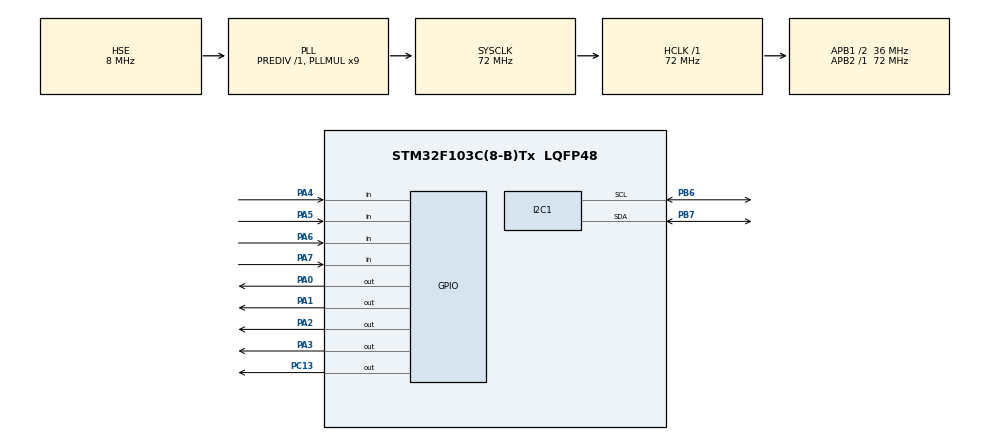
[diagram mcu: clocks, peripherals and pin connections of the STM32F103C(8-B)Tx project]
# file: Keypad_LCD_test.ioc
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Mcu.Family=STM32F1
Mcu.Name=STM32F103C(8-B)Tx
Mcu.Package=LQFP48
NVIC.PriorityGroup=NVIC_PRIORITYGROUP_4
PA0-WKUP.Signal=GPIO_Output
PA1.Signal=GPIO_Output
PA13.Mode=Serial_Wire
PA13.Signal=SYS_JTMS-SWDIO
PA14.Mode=Serial_Wire
PA14.Signal=SYS_JTCK-SWCLK
PA2.Signal=GPIO_Output
PA3.Signal=GPIO_Output
PA4.GPIO_PuPd=GPIO_PULLUP
PA4.Signal=GPIO_Input
PA5.GPIO_PuPd=GPIO_PULLUP
PA5.Signal=GPIO_Input
PA6.GPIO_PuPd=GPIO_PULLUP
PA6.Signal=GPIO_Input
PA7.GPIO_PuPd=GPIO_PULLUP
PA7.Signal=GPIO_Input
PB6.Mode=I2C
PB6.Signal=I2C1_SCL
PB7.Mode=I2C
PB7.Signal=I2C1_SDA
PC13-TAMPER-RTC.Signal=GPIO_Output
PD0-OSC_IN.Mode=HSE-External-Oscillator
PD0-OSC_IN.Signal=RCC_OSC_IN
PD1-OSC_OUT.Mode=HSE-External-Oscillator
PD1-OSC_OUT.Signal=RCC_OSC_OUT
ProjectManager.HeapSize=0x200
ProjectManager.StackSize=0x400
ProjectManager.TargetToolchain=MDK-ARM V5
RCC.AHBFreq_Value=72000000
RCC.APB1CLKDivider=RCC_HCLK_DIV2
RCC.APB1Freq_Value=36000000
RCC.APB1TimFreq_Value=72000000
RCC.APB2Freq_Value=72000000
RCC.APB2TimFreq_Value=72000000
RCC.HCLKFreq_Value=72000000
RCC.PLLMUL=RCC_PLL_MUL9
RCC.PLLSourceVirtual=RCC_PLLSOURCE_HSE
RCC.SYSCLKFreq_VALUE=72000000
RCC.SYSCLKSource=RCC_SYSCLKSOURCE_PLLCLK
RCC.USBFreq_Value=72000000
board=custom

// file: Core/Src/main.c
/* USER CODE BEGIN Header */
/**
  ******************************************************************************
  * @file           : main.c
  * @brief          : Main program body
  ******************************************************************************
  * @attention
  *
  * <h2><center>&copy; Copyright (c) 2021 STMicroelectronics.
  * All rights reserved.</center></h2>
  *
  * This software component is licensed by ST under BSD 3-Clause license,
  * the "License"; You may not use this file except in compliance with the
  * License. You may obtain a copy of the License at:
  *                        opensource.org/licenses/BSD-3-Clause
  *
  ******************************************************************************
  */
/* USER CODE END Header */
#include "main.h"

/* USER CODE BEGIN Includes */
#include "i2c-lcd.h"
/* USER CODE END Includes */

/* USER CODE BEGIN PD */
#define C1_PORT GPIOA
#define C1_PIN GPIO_PIN_7

#define C2_PORT GPIOA
#define C2_PIN GPIO_PIN_6

#define C3_PORT GPIOA
#define C3_PIN GPIO_PIN_5

#define C4_PORT GPIOA
#define C4_PIN GPIO_PIN_4

#define R1_PORT GPIOA
#define R1_PIN GPIO_PIN_3

#define R2_PORT GPIOA
#define R2_PIN GPIO_PIN_2

#define R3_PORT GPIOA
#define R3_PIN GPIO_PIN_1

#define R4_PORT GPIOA
#define R4_PIN GPIO_PIN_0
/* USER CODE END PD */

I2C_HandleTypeDef hi2c1;

void SystemClock_Config(void);
static void MX_GPIO_Init(void);
static void MX_I2C1_Init(void);

/* USER CODE BEGIN 0 */
uint8_t key;
uint8_t STR[4] = {'1', '2', '3', '4'};
uint8_t str[4] = {' ', ' ', ' ', ' '};
uint8_t i = 0;
uint8_t count =0;
char read_keypad (void)
{
		/* Make ROW 1 LOW and all other ROWs HIGH */
	HAL_GPIO_WritePin (R1_PORT, R1_PIN, GPIO_PIN_RESET);  //Pull the R1 low
	HAL_GPIO_WritePin (R2_PORT, R2_PIN, GPIO_PIN_SET);  // Pull the R2 High
	HAL_GPIO_WritePin (R3_PORT, R3_PIN, GPIO_PIN_SET);  // Pull the R3 High
	HAL_GPIO_WritePin (R4_PORT, R4_PIN, GPIO_PIN_SET);  // Pull the R4 High

	if (!(HAL_GPIO_ReadPin (C1_PORT, C1_PIN)))   // if the Col 1 is low
	{
		while (!(HAL_GPIO_ReadPin (C1_PORT, C1_PIN)));   // wait till the button is pressed
		return '1';
	}

	if (!(HAL_GPIO_ReadPin (C2_PORT, C2_PIN)))   // if the Col 2 is low
	{
		while (!(HAL_GPIO_ReadPin (C2_PORT, C2_PIN)));   // wait till the button is pressed
		return '2';
	}

	if (!(HAL_GPIO_ReadPin (C3_PORT, C3_PIN)))   // if the Col 3 is low
	{
		while (!(HAL_GPIO_ReadPin (C3_PORT, C3_PIN)));   // wait till the button is pressed
		return '3';
	}

	if (!(HAL_GPIO_ReadPin (C4_PORT, C4_PIN)))   // if the Col 4 is low
	{
		while (!(HAL_GPIO_ReadPin (C4_PORT, C4_PIN)));   // wait till the button is pressed
		return 'A';
	}

	/* Make ROW 2 LOW and all other ROWs HIGH */
	HAL_GPIO_WritePin (R1_PORT, R1_PIN, GPIO_PIN_SET);  //Pull the R1 low
	HAL_GPIO_WritePin (R2_PORT, R2_PIN, GPIO_PIN_RESET);  // Pull the R2 High
	HAL_GPIO_WritePin (R3_PORT, R3_PIN, GPIO_PIN_SET);  // Pull the R3 High
	HAL_GPIO_WritePin (R4_PORT, R4_PIN, GPIO_PIN_SET);  // Pull the R4 High

	if (!(HAL_GPIO_ReadPin (C1_PORT, C1_PIN)))   // if the Col 1 is low
	{
		while (!(HAL_GPIO_ReadPin (C1_PORT, C1_PIN)));   // wait till the button is pressed
		return '4';
	}

	if (!(HAL_GPIO_ReadPin (C2_PORT, C2_PIN)))   // if the Col 2 is low
	{
		while (!(HAL_GPIO_ReadPin (C2_PORT, C2_PIN)));   // wait till the button is pressed
		return '5';
	}

	if (!(HAL_GPIO_ReadPin (C3_PORT, C3_PIN)))   // if the Col 3 is low
	{
		while (!(HAL_GPIO_ReadPin (C3_PORT, C3_PIN)));   // wait till the button is pressed
		return '6';
	}

	if (!(HAL_GPIO_ReadPin (C4_PORT, C4_PIN)))   // if the Col 4 is low
	{
		while (!(HAL_GPIO_ReadPin (C4_PORT, C4_PIN)));   // wait till the button is pressed
		return 'B';
	}

	/* Make ROW 3 LOW and all other ROWs HIGH */
	HAL_GPIO_WritePin (R1_PORT, R1_PIN, GPIO_PIN_SET);  //Pull the R1 low
	HAL_GPIO_WritePin (R2_PORT, R2_PIN, GPIO_PIN_SET);  // Pull the R2 High
	HAL_GPIO_WritePin (R3_PORT, R3_PIN, GPIO_PIN_RESET);  // Pull the R3 High
	HAL_GPIO_WritePin (R4_PORT, R4_PIN, GPIO_PIN_SET);  // Pull the R4 High

	if (!(HAL_GPIO_ReadPin (C1_PORT, C1_PIN)))   // if the Col 1 is low
	{
		while (!(HAL_GPIO_ReadPin (C1_PORT, C1_PIN)));   // wait till the button is pressed
		return '7';
	}

	if (!(HAL_GPIO_ReadPin (C2_PORT, C2_PIN)))   // if the Col 2 is low
	{
		while (!(HAL_GPIO_ReadPin (C2_PORT, C2_PIN)));   // wait till the button is pressed
		return '8';
	}

	if (!(HAL_GPIO_ReadPin (C3_PORT, C3_PIN)))   // if the Col 3 is low
	{
		while (!(HAL_GPIO_ReadPin (C3_PORT, C3_PIN)));   // wait till the button is pressed
		return '9';
	}

	if (!(HAL_GPIO_ReadPin (C4_PORT, C4_PIN)))   // if the Col 4 is low
	{
		while (!(HAL_GPIO_ReadPin (C4_PORT, C4_PIN)));   // wait till the button is pressed
		return 'C';
	}

	/* Make ROW 4 LOW and all other ROWs HIGH */
	HAL_GPIO_WritePin (R1_PORT, R1_PIN, GPIO_PIN_SET);  //Pull the R1 low
	HAL_GPIO_WritePin (R2_PORT, R2_PIN, GPIO_PIN_SET);  // Pull the R2 High
	HAL_GPIO_WritePin (R3_PORT, R3_PIN, GPIO_PIN_SET);  // Pull the R3 High
	HAL_GPIO_WritePin (R4_PORT, R4_PIN, GPIO_PIN_RESET);  // Pull the R4 High

	if (!(HAL_GPIO_ReadPin (C1_PORT, C1_PIN)))   // if the Col 1 is low
	{
		while (!(HAL_GPIO_ReadPin (C1_PORT, C1_PIN)));   // wait till the button is pressed
		return '*';
	}

	if (!(HAL_GPIO_ReadPin (C2_PORT, C2_PIN)))   // if the Col 2 is low
	{
		while (!(HAL_GPIO_ReadPin (C2_PORT, C2_PIN)));   // wait till the button is pressed
		return '0';
	}

	if (!(HAL_GPIO_ReadPin (C3_PORT, C3_PIN)))   // if the Col 3 is low
	{
		while (!(HAL_GPIO_ReadPin (C3_PORT, C3_PIN)));   // wait till the button is pressed
		return '#';
	}

	if (!(HAL_GPIO_ReadPin (C4_PORT, C4_PIN)))   // if the Col 4 is low
	{
		while (!(HAL_GPIO_ReadPin (C4_PORT, C4_PIN)));   // wait till the button is pressed
		return 'D';
	}

	return ' ';
}
/* USER CODE END 0 */

int main(void)
{

  /* MCU Configuration--------------------------------------------------------*/

  /* Reset of all peripherals, Initializes the Flash interface and the Systick. */
  HAL_Init();

  /* Configure the system clock */
  SystemClock_Config();

  /* Initialize all configured peripherals */
  MX_GPIO_Init();
  MX_I2C1_Init();
  /* USER CODE BEGIN 2 */
	HAL_Delay(200);
	lcd_init ();
	lcd_send_cmd (0x80|0x00);
	lcd_send_string ("Enter password: ");
	HAL_Delay(1000);
  /* USER CODE END 2 */

  /* Infinite loop */
  while (1)
  {

    /* USER CODE BEGIN 3 */
key = read_keypad ();
		if(key != ' ')
  {
    if(i ==0){
      str[0] = key;
      lcd_send_cmd (0x80|0x47);
      lcd_send_data(str[0]);
      HAL_Delay(1000); // Ký t? hi?n th? trên màn hình LCD trong 1
      lcd_send_cmd (0x80|0x47);
      lcd_send_string("*"); // Ký t? du?c che b?i d?u
      }
    if(i == 1){
      str[1] = key;
      lcd_send_cmd (0x80|0x48);
      lcd_send_data(str[1]);
      HAL_Delay(1000); // Ký t? hi?n th? trên màn hình LCD trong 1
      lcd_send_cmd (0x80|0x48);
      lcd_send_string("*");// Ký t? du?c che b?i d?u
      }
    if(i == 2) {
      str[2] = key;
      lcd_send_cmd (0x80|0x49);
      lcd_send_data(str[2]);
      HAL_Delay(1000); // Ký t? hi?n th? trên màn hình LCD trong 1
      lcd_send_cmd (0x80|0x49);
      lcd_send_string("*"); // Ký t? du?c che b?i d?u
      }
    if(i == 3) {
      str[3] = key;
      lcd_send_cmd (0x80|0x4A);
      lcd_send_data(str[3]);
      HAL_Delay(1000); // Ký t? hi?n th? trên màn hình LCD trong 1
      lcd_send_cmd (0x80|0x4A);
      lcd_send_string("*"); // Ký t? du?c che b?i d?u
      count = 1;
    }
    i = i+1;
  }

  if(count == 1) {
  if(str[0] == STR[0] && str[1] == STR[1] && str[2] == STR[2] && str[3] == STR[3])
    {
      lcd_clear();
			lcd_send_cmd (0x80|0x00);
      lcd_send_string("    Correct!");
      HAL_Delay(3000);
			lcd_clear();
			lcd_send_cmd (0x80|0x00);
      lcd_send_string("    Opened!");
			HAL_Delay(3000);
			lcd_clear();
			lcd_send_cmd (0x80|0x00);
      lcd_send_string(" Enter Password");
      i = 0;
      count = 0;
			} else {
      lcd_clear();
			lcd_send_cmd (0x80|0x00);
      lcd_send_string("    Incorrect!");
      HAL_Delay(3000);
      lcd_clear();
			lcd_send_cmd (0x80|0x00);
      lcd_send_string("    Try Again!");
      HAL_Delay(3000);
      lcd_clear();
			lcd_send_cmd (0x80|0x00);
      lcd_send_string(" Enter Password");
      i = 0;
      count = 0;

			}
		}
  }
  /* USER CODE END 3 */
}

void SystemClock_Config(void)
{
  RCC_OscInitTypeDef RCC_OscInitStruct = {0};
  RCC_ClkInitTypeDef RCC_ClkInitStruct = {0};

  /** Initializes the RCC Oscillators according to the specified parameters
  * in the RCC_OscInitTypeDef structure.
  */
  RCC_OscInitStruct.OscillatorType = RCC_OSCILLATORTYPE_HSE;
  RCC_OscInitStruct.HSEState = RCC_HSE_ON;
  RCC_OscInitStruct.HSEPredivValue = RCC_HSE_PREDIV_DIV1;
  RCC_OscInitStruct.HSIState = RCC_HSI_ON;
  RCC_OscInitStruct.PLL.PLLState = RCC_PLL_ON;
  RCC_OscInitStruct.PLL.PLLSource = RCC_PLLSOURCE_HSE;
  RCC_OscInitStruct.PLL.PLLMUL = RCC_PLL_MUL9;
  if (HAL_RCC_OscConfig(&RCC_OscInitStruct) != HAL_OK)
  {
    Error_Handler();
  }
  /** Initializes the CPU, AHB and APB buses clocks
  */
  RCC_ClkInitStruct.ClockType = RCC_CLOCKTYPE_HCLK|RCC_CLOCKTYPE_SYSCLK
                              |RCC_CLOCKTYPE_PCLK1|RCC_CLOCKTYPE_PCLK2;
  RCC_ClkInitStruct.SYSCLKSource = RCC_SYSCLKSOURCE_PLLCLK;
  RCC_ClkInitStruct.AHBCLKDivider = RCC_SYSCLK_DIV1;
  RCC_ClkInitStruct.APB1CLKDivider = RCC_HCLK_DIV2;
  RCC_ClkInitStruct.APB2CLKDivider = RCC_HCLK_DIV1;

  if (HAL_RCC_ClockConfig(&RCC_ClkInitStruct, FLASH_LATENCY_2) != HAL_OK)
  {
    Error_Handler();
  }
}

static void MX_I2C1_Init(void)
{

  hi2c1.Instance = I2C1;
  hi2c1.Init.ClockSpeed = 100000;
  hi2c1.Init.DutyCycle = I2C_DUTYCYCLE_2;
  hi2c1.Init.OwnAddress1 = 0;
  hi2c1.Init.AddressingMode = I2C_ADDRESSINGMODE_7BIT;
  hi2c1.Init.DualAddressMode = I2C_DUALADDRESS_DISABLE;
  hi2c1.Init.OwnAddress2 = 0;
  hi2c1.Init.GeneralCallMode = I2C_GENERALCALL_DISABLE;
  hi2c1.Init.NoStretchMode = I2C_NOSTRETCH_DISABLE;
  if (HAL_I2C_Init(&hi2c1) != HAL_OK)
  {
    Error_Handler();
  }

}

static void MX_GPIO_Init(void)
{
  GPIO_InitTypeDef GPIO_InitStruct = {0};

  /* GPIO Ports Clock Enable */
  __HAL_RCC_GPIOC_CLK_ENABLE();
  __HAL_RCC_GPIOD_CLK_ENABLE();
  __HAL_RCC_GPIOA_CLK_ENABLE();
  __HAL_RCC_GPIOB_CLK_ENABLE();

  /*Configure GPIO pin Output Level */
  HAL_GPIO_WritePin(GPIOC, GPIO_PIN_13, GPIO_PIN_RESET);

  /*Configure GPIO pin Output Level */
  HAL_GPIO_WritePin(GPIOA, GPIO_PIN_0|GPIO_PIN_1|GPIO_PIN_2|GPIO_PIN_3, GPIO_PIN_RESET);

  /*Configure GPIO pin : PC13 */
  GPIO_InitStruct.Pin = GPIO_PIN_13;
  GPIO_InitStruct.Mode = GPIO_MODE_OUTPUT_PP;
  GPIO_InitStruct.Pull = GPIO_NOPULL;
  GPIO_InitStruct.Speed = GPIO_SPEED_FREQ_LOW;
  HAL_GPIO_Init(GPIOC, &GPIO_InitStruct);

  /*Configure GPIO pins : PA0 PA1 PA2 PA3 */
  GPIO_InitStruct.Pin = GPIO_PIN_0|GPIO_PIN_1|GPIO_PIN_2|GPIO_PIN_3;
  GPIO_InitStruct.Mode = GPIO_MODE_OUTPUT_PP;
  GPIO_InitStruct.Pull = GPIO_NOPULL;
  GPIO_InitStruct.Speed = GPIO_SPEED_FREQ_LOW;
  HAL_GPIO_Init(GPIOA, &GPIO_InitStruct);

  /*Configure GPIO pins : PA4 PA5 PA6 PA7 */
  GPIO_InitStruct.Pin = GPIO_PIN_4|GPIO_PIN_5|GPIO_PIN_6|GPIO_PIN_7;
  GPIO_InitStruct.Mode = GPIO_MODE_INPUT;
  GPIO_InitStruct.Pull = GPIO_PULLUP;
  HAL_GPIO_Init(GPIOA, &GPIO_InitStruct);

}

void Error_Handler(void)
{
}

/************************ (C) COPYRIGHT STMicroelectronics *****END OF FILE****/
